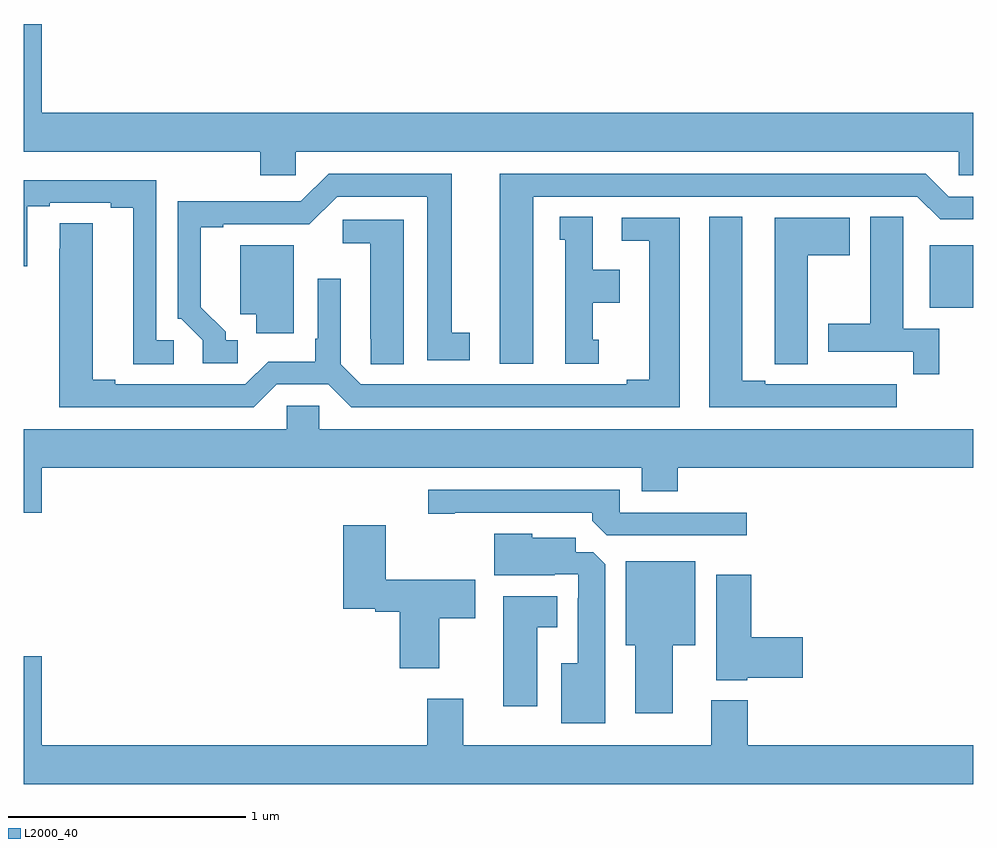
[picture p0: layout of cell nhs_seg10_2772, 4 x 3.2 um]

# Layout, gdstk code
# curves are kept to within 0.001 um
import gdstk
lib = gdstk.Library(unit=1e-6, precision=1e-09)
def R(c, l, rs):  # rectangles x0, y0, x1, y1
    for r in rs: c.add(gdstk.rectangle(r[:2], r[2:], *l))
def P(c, l, *ps):  # polygons
    for p in ps: c.add(gdstk.Polygon(p, *l))
L2000_40 = (2000, 40)

nhs_seg10_2772 = lib.new_cell('nhs_seg10_2772')
R(nhs_seg10_2772, L2000_40, [(264.818,1289.003,265,1289.266)])
P(nhs_seg10_2772, L2000_40, [(262.146,1289.66),(264.939,1289.66),(264.939,1289.562),(265,1289.562),(265,1289.824),(261.076,1289.824),(261.076,1290.199),(261,1290.199),(261,1289.66),(261.995,1289.66),(261.995,1289.562),(262.146,1289.562)],
  [(263.146,1289.472),(264.765,1289.472),(264.861,1289.376),(265,1289.376),(265,1289.472),(264.897,1289.472),(264.801,1289.568),(263.006,1289.568),(263.006,1288.767),(263.146,1288.767)],
  [(261.901,1288.866),(261.85,1288.866),(261.85,1288.901),(261.745,1289.006),(261.745,1289.343),(261.841,1289.343),(261.841,1289.355),(262.203,1289.355),(262.32,1289.472),(262.7,1289.472),(262.7,1288.782),(262.879,1288.782),(262.879,1288.898),(262.804,1288.898),(262.804,1289.568),(262.284,1289.568),(262.167,1289.451),(261.911,1289.451),(261.911,1289.453),(261.648,1289.453),(261.648,1288.956),(261.663,1288.956),(261.753,1288.866),(261.753,1288.77),(261.901,1288.77)],
  [(261.631,1288.866),(261.558,1288.866),(261.558,1289.541),(261,1289.541),(261,1289.179),(261.013,1289.179),(261.013,1289.43),(261.109,1289.43),(261.109,1289.445),(261.365,1289.445),(261.365,1289.425),(261.461,1289.425),(261.461,1288.765),(261.631,1288.765)],
  [(264.679,1288.68),(264.566,1288.68),(264.566,1288.681),(264.4,1288.681),(264.4,1288.68),(264.124,1288.68),(264.124,1288.695),(264.028,1288.695),(264.028,1289.387),(263.888,1289.387),(263.888,1288.584),(264.679,1288.584)],
  [(264.857,1288.914),(264.706,1288.914),(264.706,1289.276),(264.705,1289.276),(264.705,1289.387),(264.566,1289.387),(264.566,1288.935),(264.389,1288.935),(264.389,1288.818),(264.748,1288.818),(264.748,1288.722),(264.857,1288.722)],
  [(263.422,1288.869),(263.398,1288.869),(263.398,1289.024),(263.512,1289.024),(263.512,1289.164),(263.398,1289.164),(263.398,1289.387),(263.258,1289.387),(263.258,1289.289),(263.282,1289.289),(263.282,1288.767),(263.422,1288.767)],
  [(264.304,1289.224),(264.481,1289.224),(264.481,1289.383),(264.164,1289.383),(264.164,1288.873),(264.165,1288.873),(264.165,1288.765),(264.304,1288.765)],
  [(262.065,1288.68),(262.283,1288.68),(262.379,1288.584),(263.764,1288.584),(263.764,1289.382),(263.52,1289.382),(263.52,1289.286),(263.636,1289.286),(263.636,1288.7),(263.54,1288.7),(263.54,1288.68),(262.419,1288.68),(262.335,1288.764),(262.335,1289.125),(262.239,1289.125),(262.239,1288.873),(262.227,1288.873),(262.227,1288.776),(262.029,1288.776),(261.933,1288.68),(261.385,1288.68),(261.385,1288.7),(261.289,1288.7),(261.289,1289.36),(261.15,1289.36),(261.149,1288.584),(261.969,1288.584)],
  [(262.6,1289.373),(262.344,1289.373),(262.344,1289.276),(262.46,1289.276),(262.46,1288.873),(262.461,1288.873),(262.461,1288.765),(262.6,1288.765)],
  [(262.138,1289.266),(261.911,1289.266),(261.911,1288.976),(261.98,1288.976),(261.98,1288.896),(262.138,1288.896)],
  [(261.076,1288.328),(263.603,1288.328),(263.603,1288.229),(263.756,1288.229),(263.756,1288.328),(265,1288.328),(265,1288.492),(262.245,1288.492),(262.245,1288.59),(262.107,1288.59),(262.107,1288.492),(261,1288.492),(261,1288.14),(261.076,1288.14)],
  [(264.046,1288.14),(263.511,1288.14),(263.511,1288.236),(262.704,1288.236),(262.704,1288.135),(262.816,1288.135),(262.816,1288.14),(263.396,1288.14),(263.396,1288.106),(263.457,1288.044),(264.046,1288.044)],
  [(262.75,1287.694),(262.903,1287.694),(262.903,1287.856),(262.524,1287.856),(262.524,1288.087),(262.346,1288.087),(262.346,1287.734),(262.481,1287.734),(262.481,1287.722),(262.583,1287.722),(262.583,1287.483),(262.75,1287.483)],
  [(263.449,1287.923),(263.4,1287.972),(263.326,1287.972),(263.326,1288.033),(263.142,1288.033),(263.142,1288.051),(262.982,1288.051),(262.982,1287.875),(263.237,1287.875),(263.237,1287.879),(263.337,1287.879),(263.337,1287.779),(263.333,1287.779),(263.333,1287.505),(263.264,1287.505),(263.264,1287.251),(263.449,1287.251)],
  [(263.734,1287.581),(263.83,1287.581),(263.83,1287.934),(263.537,1287.934),(263.537,1287.581),(263.576,1287.581),(263.576,1287.294),(263.734,1287.294)],
  [(264.048,1287.443),(264.283,1287.443),(264.283,1287.614),(264.065,1287.614),(264.065,1287.877),(263.918,1287.877),(263.918,1287.434),(264.048,1287.434)],
  [(263.164,1287.656),(263.248,1287.656),(263.248,1287.787),(263.021,1287.787),(263.021,1287.324),(263.164,1287.324)],
  [(265,1287.16),(264.05,1287.16),(264.05,1287.349),(263.897,1287.349),(263.897,1287.16),(262.852,1287.16),(262.852,1287.355),(262.7,1287.355),(262.7,1287.16),(261.076,1287.16),(261.076,1287.535),(261,1287.535),(261,1286.996),(265,1286.996)])

lib.write_gds('nhs_seg10_2772.gds')
